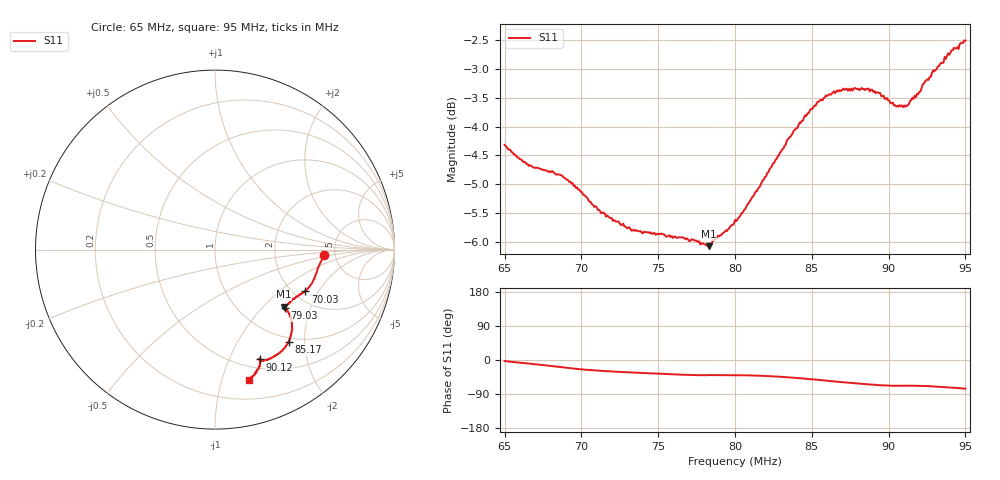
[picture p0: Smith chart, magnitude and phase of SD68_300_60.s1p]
! NanoVNA-App
! Date: 2025-08-09 13:22:51
! Start: 65MHz Stop: 95MHz Points: 401
! S-Parameter data: F S11
# Hz S RI R 50
!  Frequency  S11_Real  S11_Imag
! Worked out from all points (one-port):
!   401 points, 65 MHz to 95 MHz, reference 50 ohm
!   lowest |S11| = -6.1 dB at 78.28 MHz (marker M1), VSWR 2.98, Z = 78 - j65.8 ohm
!   |S11| at or under -10 dB: nowhere
!   S11 on the Smith chart (normalised r, x): 65 MHz: 4.07, -0.37; 70.03 MHz: 2.30, -1.54; 79.03 MHz: 1.55, -1.36; 85.17 MHz: 0.92, -1.68; 90.12 MHz: 0.60, -1.31; 95 MHz: 0.37, -1.22
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6.5e7  0.6077 -0.0289
6.6575e7  0.5752 -0.0977
6.875e7  0.5403 -0.1877
7.0025e7  0.5023 -0.233
7.1225e7  0.4684 -0.2536
7.25e7  0.4434 -0.2718
7.34e7  0.43 -0.2807
7.625e7  0.3967 -0.3132
7.7375e7  0.3872 -0.321
7.8275e7  0.382 -0.3179
7.9025e7  0.3899 -0.3254
8e7  0.3992 -0.3389
8.06e7  0.407 -0.3463
8.1575e7  0.4177 -0.3713
8.2625e7  0.4289 -0.4056
8.375e7  0.4281 -0.452
8.5175e7  0.4098 -0.5147
8.6525e7  0.3682 -0.5653
8.75e7  0.3356 -0.5891
8.8775e7  0.2908 -0.6111
8.9375e7  0.2715 -0.6176
9.0125e7  0.2498 -0.6122
9.0575e7  0.2482 -0.6092
9.125e7  0.2462 -0.6104
9.1925e7  0.2505 -0.6246
9.2675e7  0.2485 -0.6509
9.4175e7  0.2142 -0.7032
9.5e7  0.1884 -0.7252
